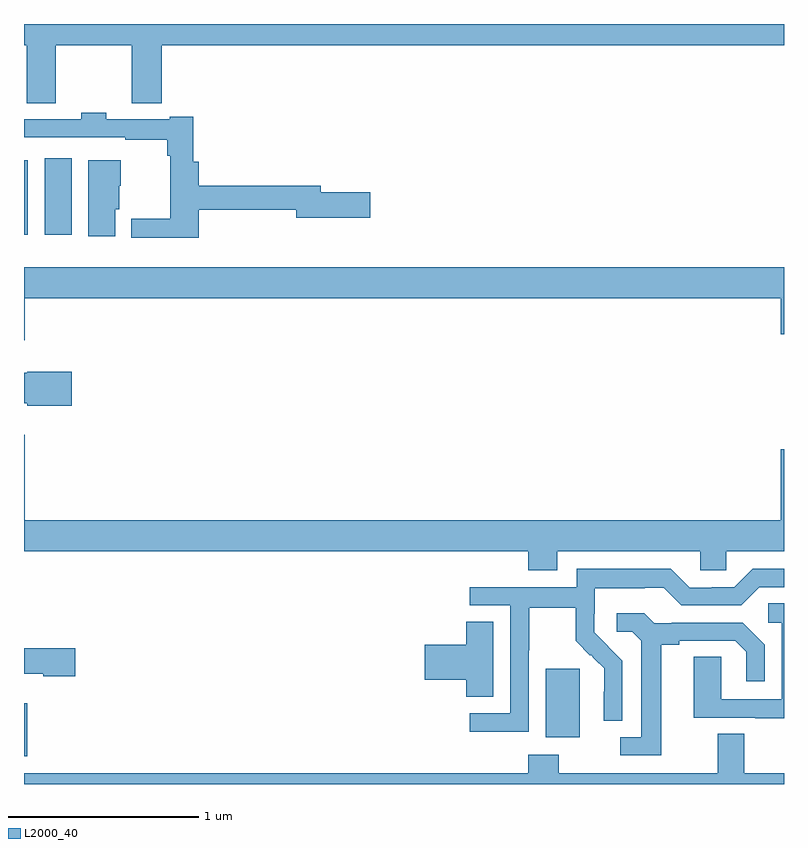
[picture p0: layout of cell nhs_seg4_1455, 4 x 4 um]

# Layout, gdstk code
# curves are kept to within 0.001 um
import gdstk
lib = gdstk.Library(unit=1e-6, precision=1e-09)
def R(c, l, rs):  # rectangles x0, y0, x1, y1
    for r in rs: c.add(gdstk.rectangle(r[:2], r[2:], *l))
def P(c, l, *ps):  # polygons
    for p in ps: c.add(gdstk.Polygon(p, *l))
L2000_40 = (2000, 40)

nhs_seg4_1455 = lib.new_cell('nhs_seg4_1455')
R(nhs_seg4_1455, L2000_40, [(185,825.045,185.018,825.324), (187.745,825.146,187.924,825.507), (185,827.792,185.02,828.184), (185.108,827.792,185.251,828.193)])
P(nhs_seg4_1455, L2000_40, [(185.168,828.788),(185.566,828.788),(185.566,828.484),(185.726,828.484),(185.726,828.788),(189,828.788),(189,828.9),(185,828.9),(185,828.788),(185.014,828.788),(185.014,828.484),(185.168,828.484)],
  [(185.921,827.922),(186.434,827.922),(186.434,827.879),(186.823,827.879),(186.823,828.014),(186.562,828.014),(186.562,828.05),(185.921,828.05),(185.921,828.175),(185.891,828.175),(185.891,828.412),(185.768,828.412),(185.768,828.399),(185.433,828.399),(185.433,828.432),(185.301,828.432),(185.301,828.399),(185,828.399),(185,828.303),(185.533,828.303),(185.533,828.291),(185.755,828.291),(185.755,828.206),(185.77,828.206),(185.77,827.876),(185.565,827.876),(185.565,827.774),(185.921,827.774)],
  [(185.479,827.925),(185.5,827.925),(185.5,828.048),(185.509,828.048),(185.509,828.184),(185.339,828.184),(185.339,827.784),(185.479,827.784)],
  [(185.005,827.456),(188.984,827.456),(188.984,827.268),(189,827.268),(189,827.62),(185,827.62),(185,827.235),(185.005,827.235)],
  [(185.251,827.07),(185.016,827.07),(185.016,827.065),(185,827.065),(185,826.904),(185.016,826.904),(185.016,826.892),(185.251,826.892)],
  [(187.807,826.124),(188.559,826.124),(188.559,826.026),(188.697,826.026),(188.697,826.124),(189,826.124),(189,826.663),(188.984,826.663),(188.984,826.288),(185.005,826.288),(185.005,826.738),(185,826.738),(185,826.124),(187.655,826.124),(187.655,826.025),(187.807,826.025)],
  [(187.656,825.604),(187.659,825.604),(187.659,825.828),(187.903,825.828),(187.903,825.653),(187.98,825.576),(187.983,825.579),(188.054,825.509),(188.054,825.386),(188.052,825.386),(188.052,825.232),(188.148,825.232),(188.148,825.55),(188.002,825.698),(188.002,825.795),(188.004,825.795),(188.004,825.929),(188.267,825.929),(188.267,825.933),(188.367,825.933),(188.46,825.84),(188.775,825.84),(188.871,825.936),(189,825.936),(189,826.032),(188.835,826.032),(188.739,825.936),(188.621,825.936),(188.621,825.933),(188.505,825.933),(188.405,826.033),(187.908,826.033),(187.908,825.936),(187.347,825.936),(187.347,825.84),(187.56,825.84),(187.56,825.273),(187.347,825.273),(187.347,825.175),(187.656,825.175)],
  [(189,825.851),(188.916,825.851),(188.916,825.75),(188.988,825.75),(188.988,825.345),(188.67,825.345),(188.67,825.569),(188.525,825.569),(188.525,825.249),(188.849,825.249),(188.849,825.245),(189,825.245)],
  [(188.353,825.632),(188.449,825.632),(188.449,825.654),(188.744,825.654),(188.801,825.597),(188.801,825.441),(188.898,825.441),(188.898,825.634),(188.782,825.75),(188.41,825.75),(188.41,825.747),(188.316,825.747),(188.264,825.799),(188.121,825.799),(188.121,825.702),(188.202,825.702),(188.249,825.655),(188.249,825.147),(188.139,825.147),(188.139,825.051),(188.353,825.051)],
  [(187.471,825.755),(187.328,825.755),(187.328,825.632),(187.11,825.632),(187.11,825.449),(187.328,825.449),(187.328,825.358),(187.471,825.358)],
  [(185.269,825.614),(185,825.614),(185,825.479),(185.101,825.479),(185.101,825.467),(185.269,825.467)],
  [(189,824.956),(188.791,824.956),(188.791,825.164),(188.651,825.164),(188.651,824.956),(187.815,824.956),(187.815,825.055),(187.655,825.055),(187.655,824.956),(185,824.956),(185,824.9),(189,824.9)])

lib.write_gds('nhs_seg4_1455.gds')
